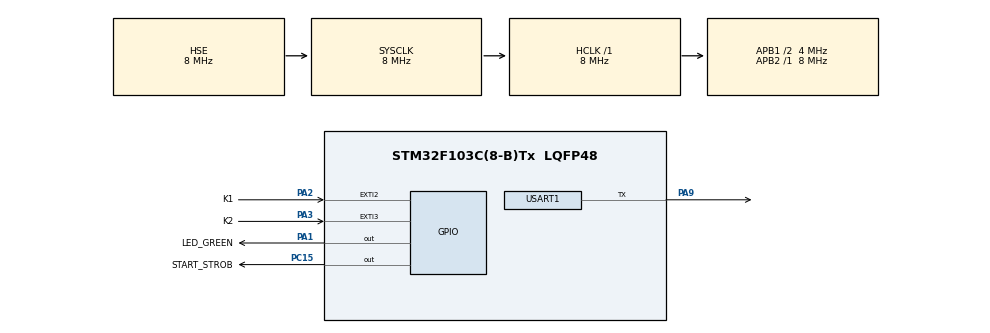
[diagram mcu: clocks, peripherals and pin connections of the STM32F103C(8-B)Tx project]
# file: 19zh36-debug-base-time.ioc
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Mcu.Family=STM32F1
Mcu.Name=STM32F103C(8-B)Tx
Mcu.Package=LQFP48
NVIC.EXTI2_IRQn=true\:0\:0\:false\:false\:true\:true
NVIC.EXTI3_IRQn=true\:0\:0\:false\:false\:true\:true
NVIC.PriorityGroup=NVIC_PRIORITYGROUP_4
PA1.GPIO_Label=LED_GREEN
PA1.GPIO_PuPd=GPIO_PULLUP
PA1.Signal=GPIO_Output
PA13.Mode=Serial_Wire
PA13.Signal=SYS_JTMS-SWDIO
PA14.Mode=Serial_Wire
PA14.Signal=SYS_JTCK-SWCLK
PA2.GPIO_Label=K1
PA2.GPIO_ModeDefaultEXTI=GPIO_MODE_IT_RISING
PA2.GPIO_PuPd=GPIO_PULLUP
PA2.Signal=GPXTI2
PA3.GPIO_Label=K2
PA3.GPIO_ModeDefaultEXTI=GPIO_MODE_IT_RISING
PA3.GPIO_PuPd=GPIO_PULLUP
PA3.Signal=GPXTI3
PA9.Mode=Half_duplex(single_wire_mode)
PA9.Signal=USART1_TX
PC15-OSC32_OUT.GPIO_Label=START_STROB
PC15-OSC32_OUT.GPIO_PuPd=GPIO_PULLUP
PC15-OSC32_OUT.GPIO_Speed=GPIO_SPEED_FREQ_HIGH
PC15-OSC32_OUT.Signal=GPIO_Output
PD0-OSC_IN.Mode=HSE-External-Oscillator
PD0-OSC_IN.Signal=RCC_OSC_IN
PD1-OSC_OUT.Mode=HSE-External-Oscillator
PD1-OSC_OUT.Signal=RCC_OSC_OUT
ProjectManager.HeapSize=0x200
ProjectManager.StackSize=0x400
ProjectManager.TargetToolchain=SW4STM32
RCC.AHBFreq_Value=8000000
RCC.APB1CLKDivider=RCC_HCLK_DIV2
RCC.APB1Freq_Value=4000000
RCC.APB1TimFreq_Value=8000000
RCC.APB2Freq_Value=8000000
RCC.APB2TimFreq_Value=8000000
RCC.HCLKFreq_Value=8000000
RCC.PLLMUL=RCC_PLL_MUL9
RCC.PLLSourceVirtual=RCC_PLLSOURCE_HSE
RCC.SYSCLKFreq_VALUE=8000000
RCC.SYSCLKSource=RCC_SYSCLKSOURCE_HSE
RCC.USBFreq_Value=72000000
TIM4.Period=65530
TIM4.Prescaler=8-1
USART1.BaudRate=38400
USART1.Mode=MODE_TX
USART1.VirtualMode=VM_ASYNC
VP_TIM4_VS_ClockSourceINT.Mode=Internal
board=custom

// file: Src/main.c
/**
  ******************************************************************************
  * @file           : main.c
  * @brief          : Main program body
  ******************************************************************************
  ** This notice applies to any and all portions of this file
  * that are not between comment pairs USER CODE BEGIN and
  * USER CODE END. Other portions of this file, whether
  * inserted by the user or by software development tools
  * are owned by their respective copyright owners.
  *
  * COPYRIGHT(c) 2019 STMicroelectronics
  *
  * Redistribution and use in source and binary forms, with or without modification,
  * are permitted provided that the following conditions are met:
  *   1. Redistributions of source code must retain the above copyright notice,
  *      this list of conditions and the following disclaimer.
  *   2. Redistributions in binary form must reproduce the above copyright notice,
  *      this list of conditions and the following disclaimer in the documentation
  *      and/or other materials provided with the distribution.
  *   3. Neither the name of STMicroelectronics nor the names of its contributors
  *      may be used to endorse or promote products derived from this software
  *      without specific prior written permission.
  *
  * THIS SOFTWARE IS PROVIDED BY THE COPYRIGHT HOLDERS AND CONTRIBUTORS "AS IS"
  * AND ANY EXPRESS OR IMPLIED WARRANTIES, INCLUDING, BUT NOT LIMITED TO, THE
  * IMPLIED WARRANTIES OF MERCHANTABILITY AND FITNESS FOR A PARTICULAR PURPOSE ARE
  * DISCLAIMED. IN NO EVENT SHALL THE COPYRIGHT HOLDER OR CONTRIBUTORS BE LIABLE
  * FOR ANY DIRECT, INDIRECT, INCIDENTAL, SPECIAL, EXEMPLARY, OR CONSEQUENTIAL
  * DAMAGES (INCLUDING, BUT NOT LIMITED TO, PROCUREMENT OF SUBSTITUTE GOODS OR
  * SERVICES; LOSS OF USE, DATA, OR PROFITS; OR BUSINESS INTERRUPTION) HOWEVER
  * CAUSED AND ON ANY THEORY OF LIABILITY, WHETHER IN CONTRACT, STRICT LIABILITY,
  * OR TORT (INCLUDING NEGLIGENCE OR OTHERWISE) ARISING IN ANY WAY OUT OF THE USE
  * OF THIS SOFTWARE, EVEN IF ADVISED OF THE POSSIBILITY OF SUCH DAMAGE.
  *
  ******************************************************************************
  */
#include "main.h"
#include "stm32f1xx_hal.h"
#include "tim.h"
#include "usart.h"
#include "gpio.h"

/* USER CODE BEGIN Includes */
#include <string.h>

	//	Strob   - PA0
	//	Kanal_1 - PA2
	//	Kanal_2 - PA3
	//	UART debug PA9, 38400.
/* USER CODE END Includes */

/* USER CODE BEGIN PV */
/* Private variables ---------------------------------------------------------*/
  volatile uint32_t tim_k1;
  volatile uint32_t tim_k2;
  volatile uint8_t ch1;
  volatile uint8_t ch2;
/* USER CODE END PV */

void SystemClock_Config(void);

/* USER CODE BEGIN PFP */
/* Private function prototypes -----------------------------------------------*/

/* USER CODE END PFP */

int main(void)
{

  /* MCU Configuration----------------------------------------------------------*/

  /* Reset of all peripherals, Initializes the Flash interface and the Systick. */
  HAL_Init();

  /* Configure the system clock */
  SystemClock_Config();

  /* Initialize all configured peripherals */
  MX_GPIO_Init();
  MX_TIM4_Init();
  MX_USART1_UART_Init();
  /* USER CODE BEGIN 2 */

  char DataChar[100];

	sprintf(DataChar,"\r\n19ZH36 GROZA-T55 debug base time\r\nUART1 for debug started\r\nSpeed 38400\r\n");
	HAL_UART_Transmit(&huart1, (uint8_t *)DataChar, strlen(DataChar), 100);

  /* USER CODE END 2 */

  /* Infinite loop */
  /* USER CODE BEGIN WHILE */
  while (1)
  {
	  HAL_GPIO_WritePin(START_STROB_GPIO_Port, START_STROB_Pin, SET);
	  for (int w=0; w<10; w++)
	  	  { __asm("nop");}
	  HAL_GPIO_WritePin(START_STROB_GPIO_Port, START_STROB_Pin, RESET);

	  ch1 = 0;
	  ch2 = 0;
	  TIM4->CNT = 0;
	  HAL_TIM_Base_Start(&htim4);
	  HAL_Delay(500);
	  HAL_TIM_Base_Stop(&htim4);

	  HAL_GPIO_TogglePin(LED_GREEN_GPIO_Port, LED_GREEN_Pin);
	sprintf(DataChar,"K1 %d(%d) K2 %d(%d) delta %d mSec\r\n", (int)tim_k1, (int)ch1, (int)tim_k2, (int)ch2, (int)(tim_k1-tim_k2) );

	HAL_UART_Transmit(&huart1, (uint8_t *)DataChar, strlen(DataChar), 100);

  /* USER CODE END WHILE */

  }

}

void SystemClock_Config(void)
{

  RCC_OscInitTypeDef RCC_OscInitStruct;
  RCC_ClkInitTypeDef RCC_ClkInitStruct;

    /**Initializes the CPU, AHB and APB busses clocks
    */
  RCC_OscInitStruct.OscillatorType = RCC_OSCILLATORTYPE_HSE;
  RCC_OscInitStruct.HSEState = RCC_HSE_ON;
  RCC_OscInitStruct.PLL.PLLState = RCC_PLL_NONE;
  if (HAL_RCC_OscConfig(&RCC_OscInitStruct) != HAL_OK)
  {
    _Error_Handler(__FILE__, __LINE__);
  }

    /**Initializes the CPU, AHB and APB busses clocks
    */
  RCC_ClkInitStruct.ClockType = RCC_CLOCKTYPE_HCLK|RCC_CLOCKTYPE_SYSCLK
                              |RCC_CLOCKTYPE_PCLK1|RCC_CLOCKTYPE_PCLK2;
  RCC_ClkInitStruct.SYSCLKSource = RCC_SYSCLKSOURCE_HSE;
  RCC_ClkInitStruct.AHBCLKDivider = RCC_SYSCLK_DIV1;
  RCC_ClkInitStruct.APB1CLKDivider = RCC_HCLK_DIV2;
  RCC_ClkInitStruct.APB2CLKDivider = RCC_HCLK_DIV1;

  if (HAL_RCC_ClockConfig(&RCC_ClkInitStruct, FLASH_LATENCY_0) != HAL_OK)
  {
    _Error_Handler(__FILE__, __LINE__);
  }

    /**Configure the Systick interrupt time
    */
  HAL_SYSTICK_Config(HAL_RCC_GetHCLKFreq()/1000);

    /**Configure the Systick
    */
  HAL_SYSTICK_CLKSourceConfig(SYSTICK_CLKSOURCE_HCLK);

  /* SysTick_IRQn interrupt configuration */
  HAL_NVIC_SetPriority(SysTick_IRQn, 0, 0);
}

void _Error_Handler(char *file, int line)
{
  while(1)
  {
  }
}

/************************ (C) COPYRIGHT STMicroelectronics *****END OF FILE****/
